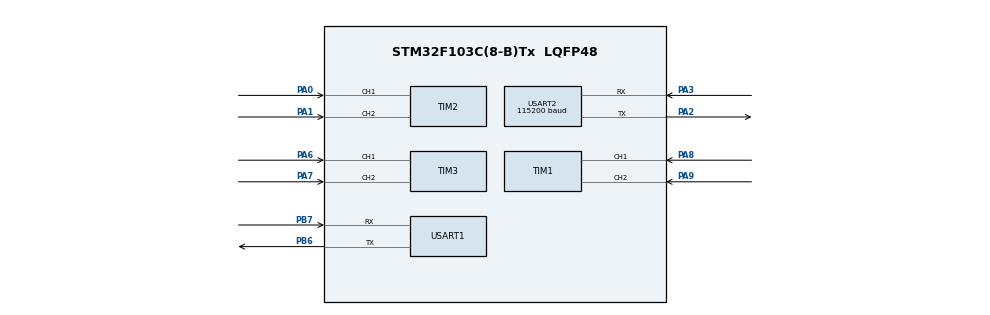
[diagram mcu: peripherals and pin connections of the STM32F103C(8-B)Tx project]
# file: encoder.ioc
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Mcu.Family=STM32F1
Mcu.Name=STM32F103C(8-B)Tx
Mcu.Package=LQFP48
NVIC.PriorityGroup=NVIC_PRIORITYGROUP_4
NVIC.TIM1_UP_IRQn=true\:0\:0\:false\:false\:true\:true\:true\:true
NVIC.TIM2_IRQn=true\:0\:0\:false\:false\:true\:true\:true\:true
NVIC.TIM3_IRQn=true\:0\:0\:false\:false\:true\:true\:true\:true
NVIC.USART1_IRQn=true\:0\:0\:false\:false\:true\:true\:true\:true
NVIC.USART2_IRQn=true\:0\:0\:false\:false\:true\:true\:true\:true
PA0-WKUP.Signal=S_TIM2_CH1_ETR
PA1.Signal=S_TIM2_CH2
PA13.Mode=Serial_Wire
PA13.Signal=SYS_JTMS-SWDIO
PA14.Mode=Serial_Wire
PA14.Signal=SYS_JTCK-SWCLK
PA2.Mode=Asynchronous
PA2.Signal=USART2_TX
PA3.Mode=Asynchronous
PA3.Signal=USART2_RX
PA6.Signal=S_TIM3_CH1
PA7.Signal=S_TIM3_CH2
PA8.Signal=S_TIM1_CH1
PA9.Signal=S_TIM1_CH2
PB6.Mode=Asynchronous
PB6.Signal=USART1_TX
PB7.Mode=Asynchronous
PB7.Signal=USART1_RX
PD0-OSC_IN.Mode=HSE-External-Oscillator
PD0-OSC_IN.Signal=RCC_OSC_IN
PD1-OSC_OUT.Mode=HSE-External-Oscillator
PD1-OSC_OUT.Signal=RCC_OSC_OUT
ProjectManager.HeapSize=0x200
ProjectManager.StackSize=0x400
ProjectManager.TargetToolchain=STM32CubeIDE
RCC.AHBFreq_Value=72000000
RCC.APB1CLKDivider=RCC_HCLK_DIV2
RCC.APB1Freq_Value=36000000
RCC.APB1TimFreq_Value=72000000
RCC.APB2Freq_Value=72000000
RCC.APB2TimFreq_Value=72000000
RCC.HCLKFreq_Value=72000000
RCC.HSEDivPLL=RCC_HSE_PREDIV_DIV2
RCC.HSE_VALUE=16000000
RCC.PLLMUL=RCC_PLL_MUL9
RCC.PLLSourceVirtual=RCC_PLLSOURCE_HSE
RCC.SYSCLKFreq_VALUE=72000000
RCC.SYSCLKSource=RCC_SYSCLKSOURCE_PLLCLK
RCC.USBFreq_Value=72000000
SH.S_TIM1_CH1.0=TIM1_CH1,Encoder_Interface
SH.S_TIM1_CH2.0=TIM1_CH2,Encoder_Interface
SH.S_TIM2_CH1_ETR.0=TIM2_CH1,Encoder_Interface
SH.S_TIM2_CH2.0=TIM2_CH2,Encoder_Interface
SH.S_TIM3_CH1.0=TIM3_CH1,Encoder_Interface
SH.S_TIM3_CH2.0=TIM3_CH2,Encoder_Interface
USART1.VirtualMode=VM_ASYNC
USART2.BaudRate=115200
USART2.VirtualMode=VM_ASYNC
board=custom

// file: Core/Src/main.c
/* USER CODE BEGIN Header */
/**
  ******************************************************************************
  * @file           : main.c
  * @brief          : Main program body
  ******************************************************************************
  * @attention
  *
  * Copyright (c) 2023 STMicroelectronics.
  * All rights reserved.
  *
  * This software is licensed under terms that can be found in the LICENSE file
  * in the root directory of this software component.
  * If no LICENSE file comes with this software, it is provided AS-IS.
  *
  ******************************************************************************
  */
/* USER CODE END Header */
#include "main.h"
#include "tim.h"
#include "usart.h"
#include "gpio.h"

void SystemClock_Config(void);

int main(void)
{

  /* MCU Configuration--------------------------------------------------------*/

  /* Reset of all peripherals, Initializes the Flash interface and the Systick. */
  HAL_Init();

  /* Configure the system clock */
  SystemClock_Config();

  /* USER CODE BEGIN SysInit */
//  RCC->APB2ENR |= RCC_APB2ENR_USART1EN;
//  RCC->APB2ENR |= RCC_APB2ENR_IOPAEN;
//  GPIOA->CRH &= (~GPIO_CRH_CNF9_0);
//  GPIOA->CRH |= (GPIO_CRH_CNF9_1 | GPIO_CRH_MODE9);
//  GPIOA->CRH &= (~GPIO_CRH_CNF10_0);
//  GPIOA->CRH |= GPIO_CRH_CNF10_1;
//  GPIOA->CRH &= (~(GPIO_CRH_MODE10));
//  GPIOA->BSRR |= GPIO_ODR_ODR10;
//  USART1->CR1 = USART_CR1_UE;
//  USART1->BRR = 7500;
  USART1->CR1 |= USART_CR1_TE | USART_CR1_RE ; // разрешаем приемник и передатчик

  USART2->CR1 |= USART_CR1_TE | USART_CR1_RE ; // разрешаем приемник и передатчик

  /* USER CODE END SysInit */

  /* Initialize all configured peripherals */
  MX_GPIO_Init();
  MX_USART2_UART_Init();
  MX_TIM1_Init();
  MX_TIM2_Init();
  MX_TIM3_Init();
  MX_USART1_UART_Init();
  /* USER CODE BEGIN 2 */
  TIM1->CR1 |= 1;
  TIM2->CR1 |= 1;
  TIM3->CR1 |= 1;

  TIM1->DIER |= 1;
  TIM2->DIER |= 1;
  TIM3->DIER |= 1;

  uint32_t data = 2000000000;

  uint32_t data1 = 2000000000;
  uint32_t data2 = 2000000000;

  extern int8_t tim1;
  extern int8_t tim2;
  extern int8_t tim3;

  tim1 = 0;
  tim2 = 0;
  tim3 = 0;
//  int8_t tim3 = 0;

  uint16_t REVOLUTION = 65535;

//  TIM2->CR1 |= 1;
  /* USER CODE END 2 */

  /* Infinite loop */
  /* USER CODE BEGIN WHILE */
  while (1)
  {

	  uint8_t flag;
	   // отослать данное назад

	  while ((USART2->SR & USART_SR_RXNE) == 0) {} // Ждем пустого регистра
      	  	 flag = USART2->DR;
      switch (flag){
    	  case 0 :
    		  data = 2000000000 + (uint32_t)LL_TIM_GetCounter(TIM1) + REVOLUTION * tim1;
    		  break;
    	  case 1 :
    		  data = 2000000000 + (uint32_t)LL_TIM_GetCounter(TIM2) + REVOLUTION * tim2;
    	      break;
    	  case 2 :
			  data = 2000000000 + (uint32_t)LL_TIM_GetCounter(TIM3) + REVOLUTION * tim3;
			  break;
    	  case 22 :
			  data1 = 2000000000 + (uint32_t)LL_TIM_GetCounter(TIM1) + REVOLUTION * tim1;
			  data2 = 2000000000 + (uint32_t)LL_TIM_GetCounter(TIM2) + REVOLUTION * tim2;
			  break;
    	  case 10 :
			  TIM1->CNT = 32000;
			  tim1 = 0;
			  data = 0;
			  break;
		  case 11 :
			  TIM2->CNT = 32000;
			  tim2 = 0;
			  data = 0;
			  break;
		  case 12 :
			  TIM3->CNT = 32000;
			  data = 0;
			  break;

      }
      if (flag == 22){
    	  while ((USART2->SR & USART_SR_TXE) == 0) {} // Ждем пустого регистра
    	  	        USART2->DR = data1 & 0xFF;
		  while ((USART2->SR & USART_SR_TXE) == 0) {} // Ждем пустого регистра
				USART2->DR = (data1>>8) & 0xFF;
		  while ((USART2->SR & USART_SR_TXE) == 0) {} // Ждем пустого регистра
				USART2->DR = (data1>>16) & 0xFF;
		  while ((USART2->SR & USART_SR_TXE) == 0) {} // Ждем пустого регистра
				USART2->DR = (data1>>24) & 0xFF;
		  while ((USART2->SR & USART_SR_TXE) == 0) {} // Ждем пустого регистра
				USART2->DR = data2 & 0xFF;
		  while ((USART2->SR & USART_SR_TXE) == 0) {} // Ждем пустого регистра
				USART2->DR = (data2>>8) & 0xFF;
		  while ((USART2->SR & USART_SR_TXE) == 0) {} // Ждем пустого регистра
				USART2->DR = (data2>>16) & 0xFF;
		  while ((USART2->SR & USART_SR_TXE) == 0) {} // Ждем пустого регистра
				USART2->DR = (data2>>24) & 0xFF;
		  continue;

      }
      while ((USART2->SR & USART_SR_TXE) == 0) {} // Ждем пустого регистра
      	  	  USART2->DR = flag;
	  while ((USART2->SR & USART_SR_TXE) == 0) {} // Ждем пустого регистра
	        USART2->DR = data & 0xFF;
	  while ((USART2->SR & USART_SR_TXE) == 0) {} // Ждем пустого регистра
	        USART2->DR = (data>>8) & 0xFF;
	  while ((USART2->SR & USART_SR_TXE) == 0) {} // Ждем пустого регистра
	        USART2->DR = (data>>16) & 0xFF;
	  while ((USART2->SR & USART_SR_TXE) == 0) {} // Ждем пустого регистра
	        USART2->DR = (data>>24) & 0xFF;
    /* USER CODE END WHILE */

  }
}

void SystemClock_Config(void)
{
  LL_FLASH_SetLatency(LL_FLASH_LATENCY_2);
  while(LL_FLASH_GetLatency()!= LL_FLASH_LATENCY_2)
  {
  }
  LL_RCC_HSE_Enable();

   /* Wait till HSE is ready */
  while(LL_RCC_HSE_IsReady() != 1)
  {

  }
  LL_RCC_PLL_ConfigDomain_SYS(LL_RCC_PLLSOURCE_HSE_DIV_2, LL_RCC_PLL_MUL_9);
  LL_RCC_PLL_Enable();

   /* Wait till PLL is ready */
  while(LL_RCC_PLL_IsReady() != 1)
  {

  }
  LL_RCC_SetAHBPrescaler(LL_RCC_SYSCLK_DIV_1);
  LL_RCC_SetAPB1Prescaler(LL_RCC_APB1_DIV_2);
  LL_RCC_SetAPB2Prescaler(LL_RCC_APB2_DIV_1);
  LL_RCC_SetSysClkSource(LL_RCC_SYS_CLKSOURCE_PLL);

   /* Wait till System clock is ready */
  while(LL_RCC_GetSysClkSource() != LL_RCC_SYS_CLKSOURCE_STATUS_PLL)
  {

  }
  LL_SetSystemCoreClock(72000000);

   /* Update the time base */
  if (HAL_InitTick (TICK_INT_PRIORITY) != HAL_OK)
  {
    Error_Handler();
  }
}

void Error_Handler(void)
{
  __disable_irq();
  while (1)
  {
  }
}
